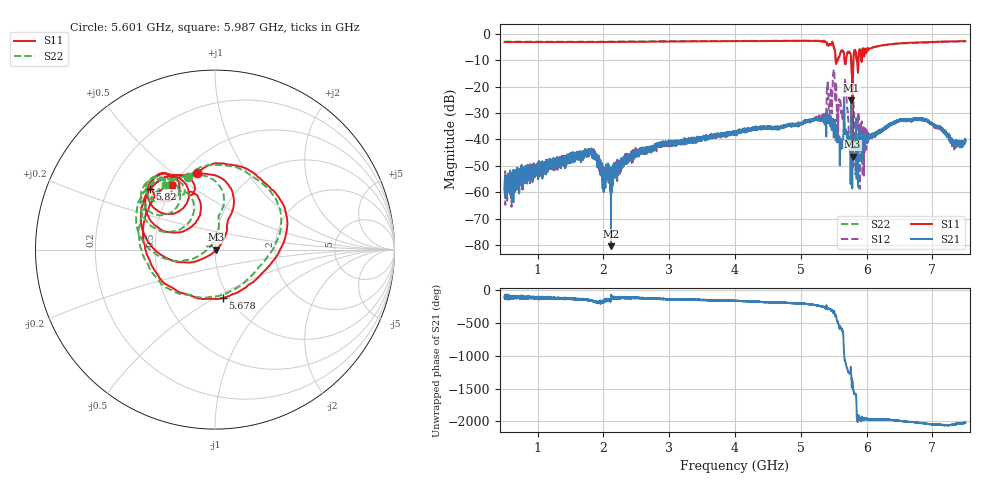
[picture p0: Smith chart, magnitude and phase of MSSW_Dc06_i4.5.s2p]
!Keysight Technologies,M9374A,MY55442783,A.12.55.05
!Date: Thursday, May 20, 2021 13:29:30
!Correction: S11(Full 2 Port(1,2))
!S21(Full 2 Port(1,2))
!S12(Full 2 Port(1,2))
!S22(Full 2 Port(1,2))
!S2P File: Measurements: S11, S21, S12, S22:
# Hz S  RI  R 50
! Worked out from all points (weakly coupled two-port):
!   7001 points, 500 MHz to 7.5 GHz, reference 50 ohm
!   highest |S21| = -25.13 dB at 5.766 GHz (marker M1); lowest = -80.4 dB at 2.116 GHz (marker M2)
!   lowest |S11| = -46.6 dB at 5.785 GHz (marker M3), VSWR 1.01, Z = 50.5 - j0.0791 ohm
!   |S11| at or under -10 dB: 5.529 GHz to 5.562 GHz (32.79 MHz wide, 0.591 % of centre); 5.665504 GHz to 5.687598 GHz (22.09 MHz wide, 0.389 % of centre); 5.765 GHz to 5.798 GHz (33.84 MHz wide, 0.585 % of centre) (the widest 3 of 5)
!   |S22| runs from -30.2 to -2.5 dB; largest |S21 - S12| = 0.21
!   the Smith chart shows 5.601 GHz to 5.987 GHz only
!   S11 on the Smith chart (normalised r, x): 5.601 GHz: 0.58, +0.61; 5.678 GHz: 0.93, -0.55; 5.82 GHz: 0.38, +0.34; 5.987 GHz: 0.49, +0.44
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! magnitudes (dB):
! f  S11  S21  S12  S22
! 500 MHz  -3.2  -58.8  -59.6  -3.0
! 1.667 GHz  -3.2  -46.1  -47.7  -3.0
! 1.859 GHz  -3.2  -44.9  -45.4  -3.0
! 1.996 GHz  -3.1  -52.2  -54.4  -3.0
! 2.116 GHz  -3.1  -80.4  -56.0  -3.0
! 2.34 GHz  -3.1  -46.1  -47.1  -2.9
! 2.834 GHz  -3.0  -42.2  -41.8  -2.9
! 4 GHz  -2.8  -37.2  -37.4  -2.8
! 5.167 GHz  -2.7  -32.7  -32.6  -2.6
! 5.353 GHz  -2.6  -31.6  -30.3  -2.6
! 5.509 GHz  -5.6  -35.3  -14.6  -5.7
! 5.552 GHz  -10.3  -38.7  -30.5  -9.9
! 5.601 GHz  -7.2  -42.6  -24.8  -7.3
! 5.678 GHz  -11.3  -36.1  -19.3  -11.8
! 5.733 GHz  -6.9  -41.9  -40.3  -6.8
! 5.766 GHz  -10.8  -25.1  -34.0  -11.0
! 5.785 GHz  -46.6  -50.5  -24.3  -28.8
! 5.82 GHz  -6.1  -41.9  -36.6  -5.9
! 5.987 GHz  -7.3  -40.6  -42.8  -6.8
! 6.334 GHz  -4.1  -35.1  -34.8  -4.1
! 6.858 GHz  -3.2  -32.4  -32.9  -3.4
! 7.5 GHz  -2.8  -40.9  -41.1  -2.9
